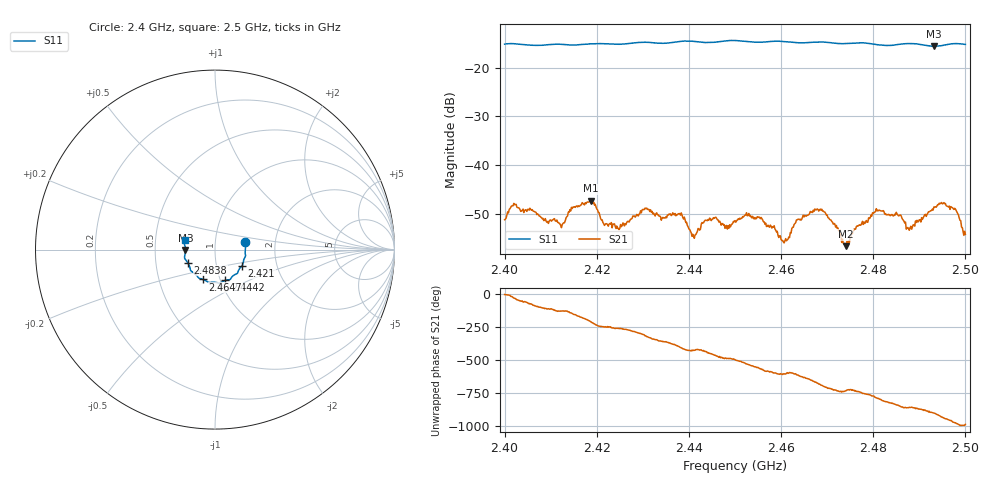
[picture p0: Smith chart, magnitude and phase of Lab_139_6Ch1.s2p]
# Hz S RI R 50
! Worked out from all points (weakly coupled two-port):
!   601 points, 2.4 GHz to 2.5 GHz, reference 50 ohm
!   highest |S21| = -47.24 dB at 2.4187 GHz (marker M1); lowest = -56.5 dB at 2.474 GHz (marker M2)
!   lowest |S11| = -15.7 dB at 2.4932 GHz (marker M3), VSWR 1.40, Z = 35.8 - j0.119 ohm
!   |S11| at or under -10 dB: start of sweep to end of sweep
!   S12 and S22 are empty: the file has one direction only
!   S11 on the Smith chart (normalised r, x): 2.4 GHz: 1.40, +0.12; 2.421 GHz: 1.33, -0.24; 2.4442 GHz: 1.05, -0.37; 2.4647 GHz: 0.83, -0.28; 2.4838 GHz: 0.73, -0.11; 2.5 GHz: 0.71, +0.08
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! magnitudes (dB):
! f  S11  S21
! 2.4 GHz  -15.2  -51.1
! 2.402 GHz  -15.1  -47.8
! 2.4125 GHz  -15.2  -52.1
! 2.4167 GHz  -15.3  -48.1
! 2.4187 GHz  -15.1  -47.2
! 2.421 GHz  -15.1  -51.1
! 2.4333 GHz  -15.0  -50.1
! 2.4382 GHz  -14.6  -50.2
! 2.441 GHz  -14.6  -54.6
! 2.4442 GHz  -14.9  -51.1
! 2.45 GHz  -14.5  -51.3
! 2.4553 GHz  -14.8  -50.6
! 2.4607 GHz  -14.7  -55.9
! 2.4647 GHz  -14.9  -50.6
! 2.4667 GHz  -14.8  -49.6
! 2.474 GHz  -15.1  -56.5
! 2.4833 GHz  -15.5  -50.0
! 2.4838 GHz  -15.5  -50.2
! 2.4878 GHz  -15.1  -53.3
! 2.4932 GHz  -15.7  -48.5
! 2.4975 GHz  -15.1  -49.0
! 2.5 GHz  -15.3  -54.1
